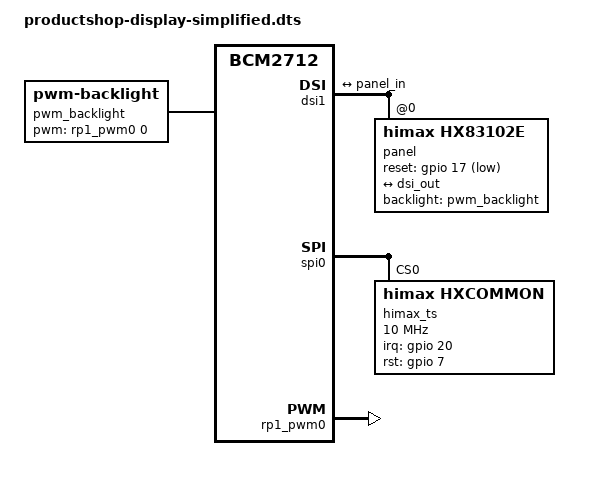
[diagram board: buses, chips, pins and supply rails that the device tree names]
/dts-v1/;
/plugin/;

/{
    compatible = "brcm,bcm2712";

    // DSI Display Configuration
    dsi_frag: fragment@0 {
        target = <&dsi1>;
        __overlay__ {
            #address-cells = <1>;
            #size-cells = <0>;
            status = "okay";
            
            port {
                dsi_out: endpoint {
                    remote-endpoint = <&panel_in>;
                };
            };
            
            panel@0 {
                compatible = "himax,hx83102e", "himax,hx83102";
                reg = <0>;
                reset-gpios = <&gpio 17 1>;
                backlight = <&pwm_backlight>;
                rotation = <270>;
                
                port {
                    panel_in: endpoint {
                        remote-endpoint = <&dsi_out>;
                    };
                };
            };
        };
    };

    // SPI Touch Configuration - don't configure SPI itself
    fragment@1 {
        target = <&spi0>;
        __overlay__ {
            #address-cells = <1>;
            #size-cells = <0>;
            
            himax_ts: himax@0 {
                compatible = "himax,hxcommon";
                reg = <0>;
                spi-max-frequency = <10000000>;
                
                himax,panel-coords = <0 1200 0 2000>;
                himax,display-coords = <0 1200 0 2000>;
                
                himax,irq-gpio = <&gpio 20 0x2008>;
                himax,rst-gpio = <&gpio 7 0x00>;  // Now GPIO7 is free
                
                interrupt-parent = <&gpio>;
                interrupts = <20 0x2008>;
                
                // Project-specific configuration
                himax,proj-name = "productshop";
                productshop,rx-num = <50>;
                productshop,tx-num = <32>;
                productshop,bt-num = <0>;
                productshop,max-pt = <10>;
                productshop,int-edge = <1>;
                productshop,stylus-func = <0>;
                
                report_type = <1>;
                
                status = "okay";
            };
        };
    };

    // PWM Configuration for Backlight
    fragment@2 {
        target = <&rp1_pwm0>;
        __overlay__ {
            pinctrl-names = "default";
            pinctrl-0 = <&pwm_pins>;
            status = "okay";
        };
    };

    // GPIO Pin Configuration
    fragment@3 {
        target = <&gpio>;
        __overlay__ {
            pwm_pins: pwm_pins {
                brcm,pins = <18>;
                brcm,function = <2>;  // Alt5 (PWM0)
            };
        };
    };

    // Backlight Device
    fragment@4 {
        target-path = "/";
        __overlay__ {
            pwm_backlight: backlight {
                compatible = "pwm-backlight";
                pwms = <&rp1_pwm0 0 20000 0>;
                brightness-levels = <0 4 8 16 32 48 64 96 128 160 192 224 240 255>;
                default-brightness-level = <10>;
                status = "okay";
            };
        };
    };

    __overrides__ {
        // DSI overrides
        dsi0 = <&dsi_frag>, "target:0=",<&dsi0>;
        
        // Touch overrides
        spi_freq = <&himax_ts>, "spi-max-frequency:0";
        irq_gpio = <&himax_ts>, "himax,irq-gpio:4";
        rst_gpio = <&himax_ts>, "himax,rst-gpio:4";
    };
};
